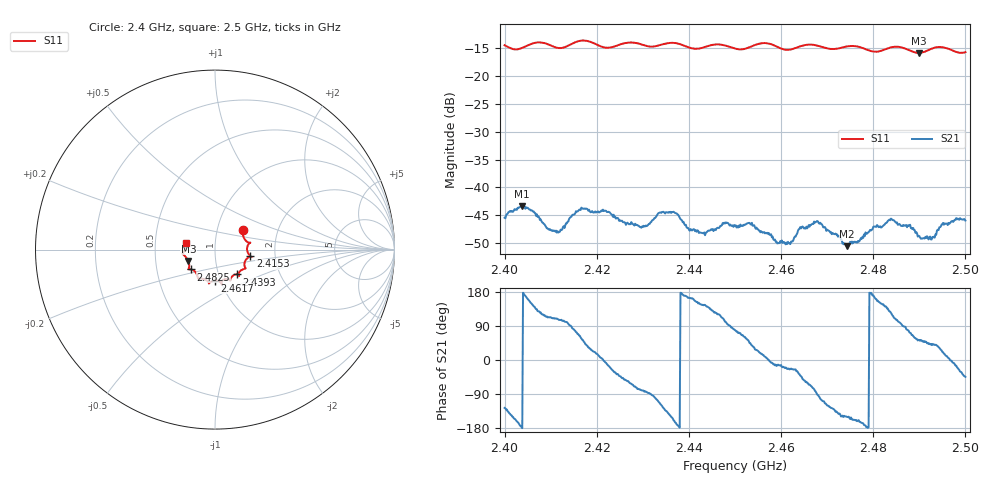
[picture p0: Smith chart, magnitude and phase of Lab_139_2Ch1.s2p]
# Hz S RI R 50
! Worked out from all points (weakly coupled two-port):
!   601 points, 2.4 GHz to 2.5 GHz, reference 50 ohm
!   highest |S21| = -43.37 dB at 2.4038 GHz (marker M1); lowest = -50.6 dB at 2.4743 GHz (marker M2)
!   lowest |S11| = -15.8 dB at 2.4898 GHz (marker M3), VSWR 1.39, Z = 36.8 - j4.82 ohm
!   |S11| at or under -10 dB: start of sweep to end of sweep
!   S12 and S22 are empty: the file has one direction only
!   S11 on the Smith chart (normalised r, x): 2.4 GHz: 1.33, +0.30; 2.4153 GHz: 1.49, -0.12; 2.4393 GHz: 1.23, -0.35; 2.4617 GHz: 0.94, -0.33; 2.4825 GHz: 0.75, -0.17; 2.5 GHz: 0.72, +0.05
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2.4e9  0.1553 0.1083  -0.00316 -0.00429  0 0  0 0
2.403833e9  0.1723 0.0495  -0.00678 -1.97e-05  0 0  0 0
2.4115e9  0.1789 0.00991  -0.00125 0.00384  0 0  0 0
2.415333e9  0.1978 -0.0376  0.00133 0.0057  0 0  0 0
2.416667e9  0.2042 -0.0418  0.00361 0.00549  0 0  0 0
2.4295e9  0.1612 -0.1074  0.000834 -0.00432  0 0  0 0
2.433333e9  0.1323 -0.134  -0.0019 -0.00553  0 0  0 0
2.436833e9  0.1343 -0.1462  -0.00563 -0.00197  0 0  0 0
2.439333e9  0.1229 -0.1382  -0.00452 0.00091  0 0  0 0
2.443167e9  0.0889 -0.1575  -0.00314 0.00225  0 0  0 0
2.45e9  0.0662 -0.1641  0.000891 0.00444  0 0  0 0
2.453167e9  0.0374 -0.178  0.00341 0.00337  0 0  0 0
2.461667e9  -0.000129 -0.1722  0.0029 -0.00121  0 0  0 0
2.466667e9  -0.0338 -0.1887  0.00157 -0.0044  0 0  0 0
2.468333e9  -0.0356 -0.1819  -0.000661 -0.00466  0 0  0 0
2.474333e9  -0.0892 -0.1618  -0.00257 -0.00146  0 0  0 0
2.4825e9  -0.1333 -0.1108  -0.00363 0.00288  0 0  0 0
2.483333e9  -0.1404 -0.1101  -0.00332 0.0038  0 0  0 0
2.489833e9  -0.1485 -0.0638  0.0022 0.00294  0 0  0 0
2.492833e9  -0.1749 -0.0287  0.00265 0.00241  0 0  0 0
2.495167e9  -0.1803 -0.0196  0.00449 0.00166  0 0  0 0
2.5e9  -0.16 0.0364  0.00358 -0.00353  0 0  0 0
